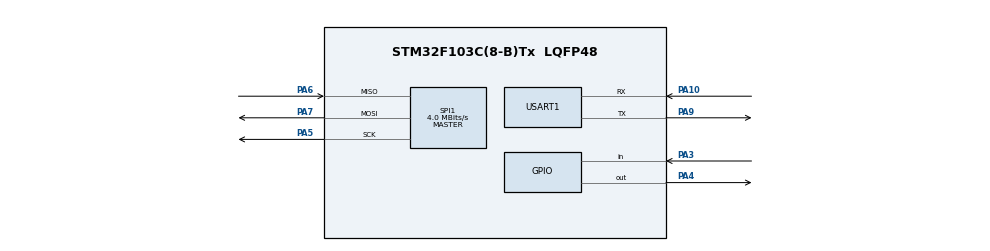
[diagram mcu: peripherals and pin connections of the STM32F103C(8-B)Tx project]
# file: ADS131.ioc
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Mcu.Family=STM32F1
Mcu.Name=STM32F103C(8-B)Tx
Mcu.Package=LQFP48
NVIC.PriorityGroup=NVIC_PRIORITYGROUP_4
PA10.Mode=Asynchronous
PA10.Signal=USART1_RX
PA3.GPIO_PuPd=GPIO_PULLUP
PA3.Signal=GPIO_Input
PA4.GPIO_PuPd=GPIO_PULLUP
PA4.Signal=GPIO_Output
PA5.Mode=Full_Duplex_Master
PA5.Signal=SPI1_SCK
PA6.Mode=Full_Duplex_Master
PA6.Signal=SPI1_MISO
PA7.Mode=Full_Duplex_Master
PA7.Signal=SPI1_MOSI
PA9.Mode=Asynchronous
PA9.Signal=USART1_TX
ProjectManager.HeapSize=0x200
ProjectManager.StackSize=0x400
ProjectManager.TargetToolchain=Makefile
RCC.APB1Freq_Value=8000000
RCC.APB2Freq_Value=8000000
SPI1.BaudRatePrescaler=SPI_BAUDRATEPRESCALER_2
SPI1.CalculateBaudRate=4.0 MBits/s
SPI1.Direction=SPI_DIRECTION_2LINES
SPI1.Mode=SPI_MODE_MASTER
SPI1.VirtualType=VM_MASTER
USART1.VirtualMode=VM_ASYNC
VP_SYS_VS_ND.Mode=No_Debug
board=custom

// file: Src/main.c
/* USER CODE BEGIN Header */
/**
  ******************************************************************************
  * @file           : main.c
  * @brief          : Main program body
  ******************************************************************************
  ** This notice applies to any and all portions of this file
  * that are not between comment pairs USER CODE BEGIN and
  * USER CODE END. Other portions of this file, whether
  * inserted by the user or by software development tools
  * are owned by their respective copyright owners.
  *
  * COPYRIGHT(c) 2018 STMicroelectronics
  *
  * Redistribution and use in source and binary forms, with or without modification,
  * are permitted provided that the following conditions are met:
  *   1. Redistributions of source code must retain the above copyright notice,
  *      this list of conditions and the following disclaimer.
  *   2. Redistributions in binary form must reproduce the above copyright notice,
  *      this list of conditions and the following disclaimer in the documentation
  *      and/or other materials provided with the distribution.
  *   3. Neither the name of STMicroelectronics nor the names of its contributors
  *      may be used to endorse or promote products derived from this software
  *      without specific prior written permission.
  *
  * THIS SOFTWARE IS PROVIDED BY THE COPYRIGHT HOLDERS AND CONTRIBUTORS "AS IS"
  * AND ANY EXPRESS OR IMPLIED WARRANTIES, INCLUDING, BUT NOT LIMITED TO, THE
  * IMPLIED WARRANTIES OF MERCHANTABILITY AND FITNESS FOR A PARTICULAR PURPOSE ARE
  * DISCLAIMED. IN NO EVENT SHALL THE COPYRIGHT HOLDER OR CONTRIBUTORS BE LIABLE
  * FOR ANY DIRECT, INDIRECT, INCIDENTAL, SPECIAL, EXEMPLARY, OR CONSEQUENTIAL
  * DAMAGES (INCLUDING, BUT NOT LIMITED TO, PROCUREMENT OF SUBSTITUTE GOODS OR
  * SERVICES; LOSS OF USE, DATA, OR PROFITS; OR BUSINESS INTERRUPTION) HOWEVER
  * CAUSED AND ON ANY THEORY OF LIABILITY, WHETHER IN CONTRACT, STRICT LIABILITY,
  * OR TORT (INCLUDING NEGLIGENCE OR OTHERWISE) ARISING IN ANY WAY OUT OF THE USE
  * OF THIS SOFTWARE, EVEN IF ADVISED OF THE POSSIBILITY OF SUCH DAMAGE.
  *
  ******************************************************************************
  */
/* USER CODE END Header */

#include "main.h"

/* USER CODE BEGIN PD */
#define CHANNELS 2
/* USER CODE END PD */

SPI_HandleTypeDef hspi1;

UART_HandleTypeDef huart1;

void SystemClock_Config(void);
static void MX_GPIO_Init(void);
static void MX_SPI1_Init(void);
static void MX_USART1_UART_Init(void);
/* USER CODE BEGIN PFP */
void read(long r[3]);
void send(int a);
void set_ch(int gain);
void ADC_setup();
/* USER CODE END PFP */

/* USER CODE BEGIN 0 */
void send(int a){
    HAL_GPIO_WritePin(GPIOA, GPIO_PIN_4, GPIO_PIN_RESET);
    uint8_t message[1];
    message[0] = a & 0xFF;
    HAL_SPI_Transmit(&hspi1, (uint8_t *)message, sizeof(message), HAL_MAX_DELAY);
    HAL_GPIO_WritePin(GPIOA, GPIO_PIN_4, GPIO_PIN_SET);
    HAL_Delay(10);
}

void set_ch(int gain){
    if (gain == 8){
        gain = 5;
    }
    if (gain == 12){
        gain = 6;
    }
    for(int i = 0; i<CHANNELS; i++){
        send(69+i);
        send(0);
        send(0+(gain<<4));
        HAL_Delay(10);
    }
    for(int i = CHANNELS; i<8; i++){
        send(69+i);
        send(0);
        send(144);
        HAL_Delay(10);
    }

}

void read(long r[9]){
    int t = HAL_GetTick();
    while(HAL_GPIO_ReadPin(GPIOA, GPIO_PIN_3)){
        HAL_Delay(25);
        char data[] = ".";
        HAL_UART_Transmit(&huart1, (uint8_t*)data, sizeof(data), 1000);

        if((t+1000)<HAL_GetTick()){
            char data[] = "Resetting \n";
            HAL_UART_Transmit(&huart1, (uint8_t*)data, sizeof(data), 1000);
            send(2);
            HAL_Delay(1);
            send(8);
//            ADC_setup();
            HAL_Delay(500);
            if(HAL_GPIO_ReadPin(GPIOA, GPIO_PIN_3)) return;
            break;
        }
    }
    HAL_GPIO_WritePin(GPIOA, GPIO_PIN_4, GPIO_PIN_RESET);
    for(int j =0; j<CHANNELS+1; j++){
        r[j] = 0;
        uint8_t data;
        HAL_SPI_Receive(&hspi1, &data, 1, 100);
        r[j] += data<<16;
        HAL_SPI_Receive(&hspi1, &data, 1, 100);
        r[j] += data<<8;
        HAL_SPI_Receive(&hspi1, &data, 1, 100);
        r[j] += data;
    }
    HAL_GPIO_WritePin(GPIOA, GPIO_PIN_4, GPIO_PIN_SET);
    HAL_Delay(1);
}

void ADC_setup(){
    set_ch(1);
    HAL_Delay(1);
    send(0x41);
    send(0);
    send(0xD6);
    HAL_Delay(1);
    send(0x08);
    HAL_Delay(1);
}
/* USER CODE END 0 */

int main(void)
{

  /* MCU Configuration--------------------------------------------------------*/

  /* Reset of all peripherals, Initializes the Flash interface and the Systick. */
  HAL_Init();

  /* Configure the system clock */
  SystemClock_Config();

  /* Initialize all configured peripherals */
  MX_GPIO_Init();
  MX_SPI1_Init();
  MX_USART1_UART_Init();
  /* USER CODE BEGIN 2 */
    long result[9];
  /* USER CODE END 2 */

  /* Infinite loop */
  /* USER CODE BEGIN WHILE */
  while (1)
  {
      read(result);
      char stat[22];
      sprintf(stat, "Status: %5d %5d \n", (int)result[0]&0xFFFF, (int)(result[0]>>16)&0xFFFF);
      HAL_UART_Transmit (&huart1, (uint8_t *)stat, 22, 100);
      result[0] = 0;

      for(int i = 1; i <= CHANNELS; i++){
          float volts = ((float) result[i])*8000.0/16777216.0;
          result[i] = 0;
          char *s = (volts < 0) ? "-" : "+";
          volts = (volts < 0) ? -volts: volts;
          int iv = volts;
          int dv = volts*100000;
          char str[100];
          sprintf(str, " %s%d.%05d,", s, iv, dv);
          int i = 0;
          for(; i < sizeof(str); i++){
              if(str[i] == ',') break;
          }
          HAL_UART_Transmit (&huart1, (uint8_t *)str, i+1, 100);
      }
      HAL_UART_Transmit (&huart1, (uint8_t *)"\n", 1, 100);
    /* USER CODE END WHILE */

  }
}

void SystemClock_Config(void)
{
  RCC_OscInitTypeDef RCC_OscInitStruct = {0};
  RCC_ClkInitTypeDef RCC_ClkInitStruct = {0};

  /**Initializes the CPU, AHB and APB busses clocks
  */
  RCC_OscInitStruct.OscillatorType = RCC_OSCILLATORTYPE_HSI;
  RCC_OscInitStruct.HSIState = RCC_HSI_ON;
  RCC_OscInitStruct.HSICalibrationValue = RCC_HSICALIBRATION_DEFAULT;
  RCC_OscInitStruct.PLL.PLLState = RCC_PLL_NONE;
  if (HAL_RCC_OscConfig(&RCC_OscInitStruct) != HAL_OK)
  {
    Error_Handler();
  }
  /**Initializes the CPU, AHB and APB busses clocks
  */
  RCC_ClkInitStruct.ClockType = RCC_CLOCKTYPE_HCLK|RCC_CLOCKTYPE_SYSCLK
                              |RCC_CLOCKTYPE_PCLK1|RCC_CLOCKTYPE_PCLK2;
  RCC_ClkInitStruct.SYSCLKSource = RCC_SYSCLKSOURCE_HSI;
  RCC_ClkInitStruct.AHBCLKDivider = RCC_SYSCLK_DIV1;
  RCC_ClkInitStruct.APB1CLKDivider = RCC_HCLK_DIV1;
  RCC_ClkInitStruct.APB2CLKDivider = RCC_HCLK_DIV1;

  if (HAL_RCC_ClockConfig(&RCC_ClkInitStruct, FLASH_LATENCY_0) != HAL_OK)
  {
    Error_Handler();
  }
}

static void MX_SPI1_Init(void)
{

  /* SPI1 parameter configuration*/
  hspi1.Instance = SPI1;
  hspi1.Init.Mode = SPI_MODE_MASTER;
  hspi1.Init.Direction = SPI_DIRECTION_2LINES;
  hspi1.Init.DataSize = SPI_DATASIZE_8BIT;
  hspi1.Init.CLKPolarity = SPI_POLARITY_LOW;
  hspi1.Init.CLKPhase = SPI_PHASE_1EDGE;
  hspi1.Init.NSS = SPI_NSS_SOFT;
  hspi1.Init.BaudRatePrescaler = SPI_BAUDRATEPRESCALER_2;
  hspi1.Init.FirstBit = SPI_FIRSTBIT_MSB;
  hspi1.Init.TIMode = SPI_TIMODE_DISABLE;
  hspi1.Init.CRCCalculation = SPI_CRCCALCULATION_DISABLE;
  hspi1.Init.CRCPolynomial = 10;
  if (HAL_SPI_Init(&hspi1) != HAL_OK)
  {
    Error_Handler();
  }

}

static void MX_USART1_UART_Init(void)
{

  huart1.Instance = USART1;
  huart1.Init.BaudRate = 115200;
  huart1.Init.WordLength = UART_WORDLENGTH_8B;
  huart1.Init.StopBits = UART_STOPBITS_1;
  huart1.Init.Parity = UART_PARITY_NONE;
  huart1.Init.Mode = UART_MODE_TX_RX;
  huart1.Init.HwFlowCtl = UART_HWCONTROL_NONE;
  huart1.Init.OverSampling = UART_OVERSAMPLING_16;
  if (HAL_UART_Init(&huart1) != HAL_OK)
  {
    Error_Handler();
  }

}

static void MX_GPIO_Init(void)
{
  GPIO_InitTypeDef GPIO_InitStruct = {0};

  /* GPIO Ports Clock Enable */
  __HAL_RCC_GPIOA_CLK_ENABLE();

  /*Configure GPIO pin Output Level */
  HAL_GPIO_WritePin(GPIOA, GPIO_PIN_4, GPIO_PIN_RESET);

  /*Configure GPIO pin : PA3 */
  GPIO_InitStruct.Pin = GPIO_PIN_3;
  GPIO_InitStruct.Mode = GPIO_MODE_INPUT;
  GPIO_InitStruct.Pull = GPIO_PULLUP;
  HAL_GPIO_Init(GPIOA, &GPIO_InitStruct);

  /*Configure GPIO pin : PA4 */
  GPIO_InitStruct.Pin = GPIO_PIN_4;
  GPIO_InitStruct.Mode = GPIO_MODE_OUTPUT_PP;
  GPIO_InitStruct.Pull = GPIO_PULLUP;
  GPIO_InitStruct.Speed = GPIO_SPEED_FREQ_LOW;
  HAL_GPIO_Init(GPIOA, &GPIO_InitStruct);

}

void Error_Handler(void)
{
}

/************************ (C) COPYRIGHT STMicroelectronics *****END OF FILE****/
